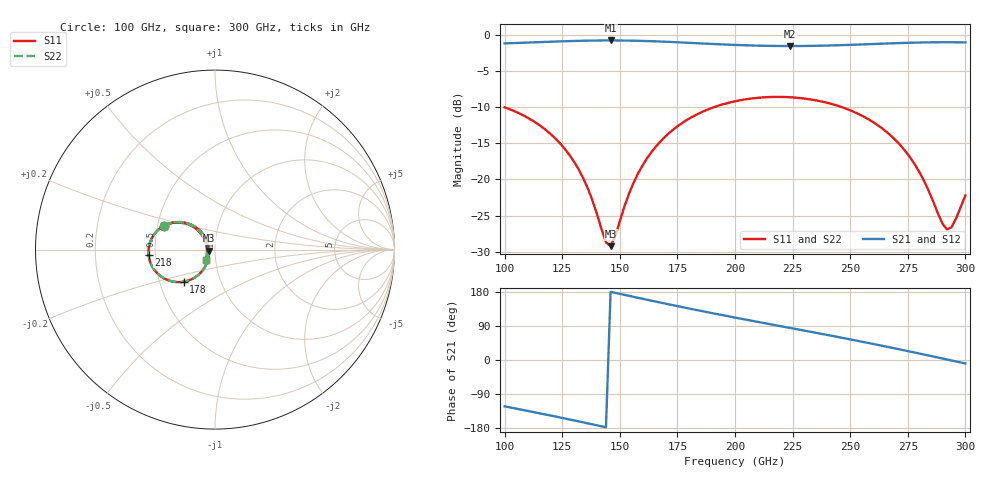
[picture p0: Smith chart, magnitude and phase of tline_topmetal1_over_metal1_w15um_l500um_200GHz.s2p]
#  GHZ S DB R 50
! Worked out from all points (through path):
!   101 points, 100 GHz to 300 GHz, reference 50 ohm
!   highest |S21| = -0.81 dB at 146 GHz (marker M1); lowest = -1.6 dB at 224 GHz (marker M2)
!   group delay of S21, straight-line fit = 3.39 ps
!   lowest |S11| = -29.2 dB at 146 GHz (marker M3), VSWR 1.07, Z = 46.7 - j0.556 ohm
!   |S11| at or under -10 dB: start of sweep to 191.1 GHz; 246.2 GHz to end of sweep
!   |S22| runs from -29.3 to -8.6 dB; largest |S21 - S12| = 1e-13
!   S11 on the Smith chart (normalised r, x): 100 GHz: 0.54, +0.16; 178 GHz: 0.66, -0.25; 218 GHz: 0.46, -0.03; 300 GHz: 0.90, -0.10
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100  -10.05 155.6  -1.21 -122.4  -1.21 -122.4  -10.05 155.5
120  -13.75 135.4  -0.98 -146.6  -0.98 -146.6  -13.75 135.2
128  -16.57 129.3  -0.90 -156.7  -0.90 -156.7  -16.57 129.1
134  -19.76 127.9  -0.85 -164.4  -0.85 -164.4  -19.77 127.7
138  -22.79 131.6  -0.83 -169.6  -0.83 -169.6  -22.81 131.4
144  -28.70 164.9  -0.81 -177.5  -0.81 -177.5  -28.76 164.7
146  -29.23 -170.1  -0.81 179.8  -0.81 179.8  -29.29 -170.1
156  -20.45 -120.7  -0.84 166.7  -0.84 166.7  -20.45 -120.6
162  -17.01 -121.1  -0.89 158.8  -0.89 158.8  -17.01 -121.1
168  -14.64 -125.1  -0.96 151.1  -0.96 151.1  -14.64 -125.2
178  -12.02 -134.4  -1.10 138.5  -1.10 138.5  -12.02 -134.5
200  -9.21 -157.2  -1.43 112.0  -1.43 112.0  -9.21 -157.3
218  -8.61 -175.7  -1.57 91.3  -1.57 91.3  -8.61 -175.9
224  -8.66 178.2  -1.58 84.5  -1.58 84.5  -8.66 178.0
234  -9.02 168.0  -1.55 73.1  -1.55 73.1  -9.02 167.8
252  -10.73 150.1  -1.39 52.1  -1.39 52.1  -10.73 149.7
268  -14.06 135.8  -1.21 32.4  -1.21 32.4  -14.07 135.4
280  -18.98 131.8  -1.10 17.1  -1.10 17.1  -19.01 131.1
290  -26.10 161.1  -1.05 4.0  -1.05 4.0  -26.29 160.4
292  -26.91 178.4  -1.05 1.4  -1.05 1.4  -27.14 178.1
294  -26.60 -163.0  -1.05 -1.3  -1.05 -1.3  -26.81 -162.9
300  -22.23 -131.9  -1.07 -9.1  -1.07 -9.1  -22.30 -131.5
